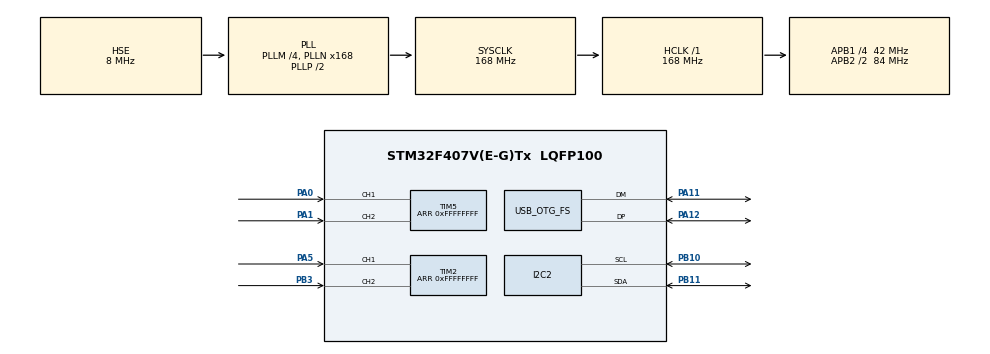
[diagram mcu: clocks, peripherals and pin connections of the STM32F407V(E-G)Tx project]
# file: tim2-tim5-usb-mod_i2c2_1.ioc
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I2C2.NoStretchMode=I2C_NOSTRETCH_ENABLE
I2C2.OwnAddress=0x4d
Mcu.Family=STM32F4
Mcu.Name=STM32F407V(E-G)Tx
Mcu.Package=LQFP100
NVIC.I2C2_ER_IRQn=true\:0\:0\:false\:false\:true\:true\:true
NVIC.I2C2_EV_IRQn=true\:0\:0\:false\:false\:true\:true\:true
NVIC.OTG_FS_IRQn=true\:0\:0\:false\:false\:true\:false\:true
NVIC.PriorityGroup=NVIC_PRIORITYGROUP_4
PA0-WKUP.GPIO_PuPd=GPIO_PULLUP
PA0-WKUP.GPIO_Speed=GPIO_SPEED_FREQ_VERY_HIGH
PA0-WKUP.Signal=S_TIM5_CH1
PA1.GPIO_PuPd=GPIO_PULLUP
PA1.GPIO_Speed=GPIO_SPEED_FREQ_VERY_HIGH
PA1.Signal=S_TIM5_CH2
PA11.Mode=Device_Only
PA11.Signal=USB_OTG_FS_DM
PA12.Mode=Device_Only
PA12.Signal=USB_OTG_FS_DP
PA5.GPIO_PuPd=GPIO_PULLUP
PA5.GPIO_Speed=GPIO_SPEED_FREQ_VERY_HIGH
PA5.Signal=S_TIM2_CH1_ETR
PB10.GPIO_Speed=GPIO_SPEED_FREQ_MEDIUM
PB10.Mode=I2C
PB10.Signal=I2C2_SCL
PB11.GPIO_Speed=GPIO_SPEED_FREQ_MEDIUM
PB11.Mode=I2C
PB11.Signal=I2C2_SDA
PB3.GPIO_PuPd=GPIO_PULLUP
PB3.GPIO_Speed=GPIO_SPEED_FREQ_VERY_HIGH
PB3.Signal=S_TIM2_CH2
PH0-OSC_IN.Mode=HSE-External-Oscillator
PH0-OSC_IN.Signal=RCC_OSC_IN
PH1-OSC_OUT.Mode=HSE-External-Oscillator
PH1-OSC_OUT.Signal=RCC_OSC_OUT
ProjectManager.HeapSize=0x200
ProjectManager.StackSize=0x400
ProjectManager.TargetToolchain=SW4STM32
RCC.48MHZClocksFreq_Value=48000000
RCC.AHBFreq_Value=168000000
RCC.APB1CLKDivider=RCC_HCLK_DIV4
RCC.APB1Freq_Value=42000000
RCC.APB1TimFreq_Value=84000000
RCC.APB2CLKDivider=RCC_HCLK_DIV2
RCC.APB2Freq_Value=84000000
RCC.APB2TimFreq_Value=168000000
RCC.CortexFreq_Value=168000000
RCC.HCLKFreq_Value=168000000
RCC.HSE_VALUE=8000000
RCC.HSI_VALUE=16000000
RCC.LSE_VALUE=32768
RCC.PLLM=4
RCC.PLLN=168
RCC.PLLQ=7
RCC.SYSCLKFreq_VALUE=168000000
RCC.SYSCLKSource=RCC_SYSCLKSOURCE_PLLCLK
RCC.VCOOutputFreq_Value=336000000
SH.S_TIM2_CH1_ETR.0=TIM2_CH1,Input_Capture1_from_TI1
SH.S_TIM2_CH2.0=TIM2_CH2,TriggerSource_TI2FP2
SH.S_TIM5_CH1.0=TIM5_CH1,TriggerSource_TI1FP1
SH.S_TIM5_CH2.0=TIM5_CH2,Input_Capture2_from_TI2
TIM2.AutoReloadPreload=TIM_AUTORELOAD_PRELOAD_ENABLE
TIM2.Channel-Input_Capture1_from_TI1=TIM_CHANNEL_1
TIM2.Period=0xFFFFFFFF
TIM5.AutoReloadPreload=TIM_AUTORELOAD_PRELOAD_ENABLE
TIM5.Channel-Input_Capture2_from_TI2=TIM_CHANNEL_2
TIM5.Period=0xFFFFFFFF
USB_DEVICE.CLASS_NAME_FS=CDC
USB_DEVICE.VirtualMode-CDC_FS=Cdc
USB_DEVICE.VirtualModeFS=Cdc_FS
USB_OTG_FS.VirtualMode=Device_Only
VP_TIM2_VS_ControllerModeClock.Mode=Clock Mode
VP_TIM5_VS_ControllerModeClock.Mode=Clock Mode
VP_USB_DEVICE_VS_USB_DEVICE_CDC_FS.Mode=CDC_FS
board=custom

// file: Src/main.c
/* USER CODE BEGIN Header */
/**
  ******************************************************************************
  * @file           : main.c
  * @brief          : Main program body
  ******************************************************************************
  * @attention
  *
  * <h2><center>&copy; Copyright (c) 2019 STMicroelectronics.
  * All rights reserved.</center></h2>
  *
  * This software component is licensed by ST under Ultimate Liberty license
  * SLA0044, the "License"; You may not use this file except in compliance with
  * the License. You may obtain a copy of the License at:
  *                             www.st.com/SLA0044
  *
  ******************************************************************************
  */
/* USER CODE END Header */

#include "main.h"
#include "usb_device.h"

/* USER CODE BEGIN Includes */
#include "usbd_cdc_if.h"
/* USER CODE END Includes */

/* USER CODE BEGIN PD */
#define I2C2_ADDRESS		0x13
/* USER CODE END PD */

I2C_HandleTypeDef hi2c2;

TIM_HandleTypeDef htim2;
TIM_HandleTypeDef htim5;

/* USER CODE BEGIN PV */
char RawFreq[80];
char TIM2CNTBUF[80];
/* USER CODE END PV */

void SystemClock_Config(void);
static void MX_GPIO_Init(void);
static void MX_TIM2_Init(void);
static void MX_TIM5_Init(void);
static void MX_I2C2_Init(void);

int main(void)
{

  /* MCU Configuration--------------------------------------------------------*/

  /* Reset of all peripherals, Initializes the Flash interface and the Systick. */
  HAL_Init();

  /* Configure the system clock */
  SystemClock_Config();

  /* Initialize all configured peripherals */
  MX_GPIO_Init();
  MX_TIM2_Init();
  MX_TIM5_Init();
  MX_USB_DEVICE_Init();
  MX_I2C2_Init();
  /* USER CODE BEGIN 2 */
  TIM2->CR1     |= TIM_CR1_CEN;//1: Counter enabled
  TIM2->EGR |= TIM_EGR_UG;

  TIM5->CR1     |= TIM_CR1_CEN;//1: Counter enabled
  TIM5->EGR |= TIM_EGR_UG;

  I2C2->CR2     |= I2C_CR2_FREQ_3; //0b01000: 8 MHz Peripheral Clock Frequency == 8 MHz!
  /*I2C2->CCR     |= 0x28;           // clock control register (270kHz)?!
  I2C2->TRISE   |= 0x09;          // rise time register*/
  I2C2->CR1 	|= I2C_CR1_PE;     //1:  Peripheral enable
  /* USER CODE END 2 */

  /* Infinite loop */
  /* USER CODE BEGIN WHILE */
  unsigned int freqTIM2Before=0;
  unsigned int freqTIM2After=0;
  unsigned int freqTIM2PerSecond=0;

  unsigned int freqTIM5Before=0;
  unsigned int freqTIM5After=0;
  unsigned int freqTIM5PerSecond=0;

  unsigned int GENcount=0;
  short x=0, x1=0, x2=0, x3=0, x4=0;
  unsigned int y=0, y1=0, y2=0, y3=0, y4=0 /*,y5=0*/;

  while (1)
  {
		freqTIM2After=TIM2->CNT;
		freqTIM2PerSecond=freqTIM2After-freqTIM2Before;
		freqTIM2PerSecond-=freqTIM2PerSecond*0.00095;
		freqTIM5After=TIM5->CNT;
	    freqTIM5PerSecond=freqTIM5After-freqTIM5Before;
	    freqTIM5PerSecond-=freqTIM5PerSecond*0.00095;

	    I2C2->CR1		|=I2C_CR1_ACK; //A
	    while (!(I2C2->SR1 & I2C_SR1_ADDR)){}; //ev1
	    I2C2->SR1;
	    I2C2->SR2;
	    while (!(I2C2->SR1 & I2C_SR1_TXE)){}; //ev3-1

	   	/*while((I2C2->SR1 & I2C_SR1_ADDR) == I2C_SR1_ADDR){
	      I2C2->SR1;
	      I2C2->SR2;
	    }*/
	    x=freqTIM2PerSecond;
	    x4 = x&0x000000FF;
	    x3 = (x&0x0000FF00) >> 8;
	    x2 = (x&0x00FF0000) >> 16;
	    x1 = (x&0xFF000000) >> 24;

	    y=freqTIM5PerSecond;
	   	y4 = y&0x000000FF;
	   	y3 = (y&0x0000FF00) >> 8;
	   	y2 = (y&0x00FF0000) >> 16;
	   	y1 = (y&0xFF000000) >> 24;
	 /*  y1 = x1<<24;
	   y2 = x2<<16;
	   y3 = x3<<8;
	   y4 =x4;
	   y5= y4+y3+y2+y1;*/

	   I2C2->DR = x1; //data1
	   while (!(I2C2->SR1 & I2C_SR1_TXE)){}; //ev3
	   I2C2->CR1		|=I2C_CR1_ACK;
	   I2C2->DR = x2; //data2
	   while (!(I2C2->SR1 & I2C_SR1_TXE)){};  //ev3
	   I2C2->CR1		|=I2C_CR1_ACK;
	   I2C2->DR = x3; //data3
	   while (!(I2C2->SR1 & I2C_SR1_TXE)){};  //ev3
	   I2C2->CR1		|=I2C_CR1_ACK;
	   I2C2->DR = x4; //data4
	   while (!(I2C2->SR1 & I2C_SR1_TXE)){};  //ev3
	   I2C2->CR1		|=I2C_CR1_ACK;
	   I2C2->DR = y1; //data5
	   while (!(I2C2->SR1 & I2C_SR1_TXE)){};  //ev3
	   I2C2->CR1		|=I2C_CR1_ACK;
	   I2C2->DR = y2; //data6
	   while (!(I2C2->SR1 & I2C_SR1_TXE)){};  //ev3
	   I2C2->CR1		|=I2C_CR1_ACK;
	   I2C2->DR = y3; //data7
	   while (!(I2C2->SR1 & I2C_SR1_TXE)){};  //ev3
	   I2C2->CR1		|=I2C_CR1_ACK;
	   I2C2->DR = y4; //data8
	   while (!(I2C2->SR1 & I2C_SR1_TXE)){};  //ev3

	    //while ((I2C1->SR1 & I2C_SR1_TXE) == I2C_SR1_TXE){

	    //}

	    //while ((I2C1->SR1 & I2C_SR1_TXE) == I2C_SR1_TXE){};

//	    sprintf(TIM2CNTBUF, "%u \t \%x \t %u  \t %u  \t %u  \t %u  \t %u  \t %u \r\n", GENcount, (unsigned int)I2C2->OAR1,(unsigned int)(y1), (unsigned int)(y2), (unsigned int)(y3), (unsigned int)(y4),  (unsigned int)(y5), (unsigned int)TIM2->CNT);
	   sprintf(TIM2CNTBUF, "%u \t %u \t %u \r\n", GENcount, freqTIM2PerSecond, freqTIM5PerSecond);
	   CDC_Transmit_FS((uint8_t *)TIM2CNTBUF, 80);
	    freqTIM2Before=freqTIM2After;
	    freqTIM5Before=freqTIM5After;

	    HAL_Delay(1000);
	    GENcount++;
    /* USER CODE END WHILE */

  }
}

void SystemClock_Config(void)
{
  RCC_OscInitTypeDef RCC_OscInitStruct = {0};
  RCC_ClkInitTypeDef RCC_ClkInitStruct = {0};

  /** Configure the main internal regulator output voltage
  */
  __HAL_RCC_PWR_CLK_ENABLE();
  __HAL_PWR_VOLTAGESCALING_CONFIG(PWR_REGULATOR_VOLTAGE_SCALE1);
  /** Initializes the CPU, AHB and APB busses clocks
  */
  RCC_OscInitStruct.OscillatorType = RCC_OSCILLATORTYPE_HSE;
  RCC_OscInitStruct.HSEState = RCC_HSE_ON;
  RCC_OscInitStruct.PLL.PLLState = RCC_PLL_ON;
  RCC_OscInitStruct.PLL.PLLSource = RCC_PLLSOURCE_HSE;
  RCC_OscInitStruct.PLL.PLLM = 4;
  RCC_OscInitStruct.PLL.PLLN = 168;
  RCC_OscInitStruct.PLL.PLLP = RCC_PLLP_DIV2;
  RCC_OscInitStruct.PLL.PLLQ = 7;
  if (HAL_RCC_OscConfig(&RCC_OscInitStruct) != HAL_OK)
  {
    Error_Handler();
  }
  /** Initializes the CPU, AHB and APB busses clocks
  */
  RCC_ClkInitStruct.ClockType = RCC_CLOCKTYPE_HCLK|RCC_CLOCKTYPE_SYSCLK
                              |RCC_CLOCKTYPE_PCLK1|RCC_CLOCKTYPE_PCLK2;
  RCC_ClkInitStruct.SYSCLKSource = RCC_SYSCLKSOURCE_PLLCLK;
  RCC_ClkInitStruct.AHBCLKDivider = RCC_SYSCLK_DIV1;
  RCC_ClkInitStruct.APB1CLKDivider = RCC_HCLK_DIV4;
  RCC_ClkInitStruct.APB2CLKDivider = RCC_HCLK_DIV2;

  if (HAL_RCC_ClockConfig(&RCC_ClkInitStruct, FLASH_LATENCY_5) != HAL_OK)
  {
    Error_Handler();
  }
}

static void MX_I2C2_Init(void)
{

  hi2c2.Instance = I2C2;
  hi2c2.Mode = HAL_I2C_MODE_SLAVE;
  hi2c2.Init.ClockSpeed = 100000;
  hi2c2.Init.DutyCycle = I2C_DUTYCYCLE_2;
  hi2c2.Init.OwnAddress1 = I2C2_ADDRESS;
  hi2c2.Init.AddressingMode = I2C_ADDRESSINGMODE_7BIT;
  hi2c2.Init.DualAddressMode = I2C_DUALADDRESS_DISABLE;
  hi2c2.Init.OwnAddress2 = 0;
  hi2c2.Init.GeneralCallMode = I2C_GENERALCALL_DISABLE;
  hi2c2.Init.NoStretchMode = I2C_NOSTRETCH_ENABLE;
  if (HAL_I2C_Init(&hi2c2) != HAL_OK)
  {
    Error_Handler();
  }

}

static void MX_TIM2_Init(void)
{

  TIM_SlaveConfigTypeDef sSlaveConfig = {0};
  TIM_MasterConfigTypeDef sMasterConfig = {0};
  TIM_IC_InitTypeDef sConfigIC = {0};

  htim2.Instance = TIM2;
  htim2.Init.Prescaler = 0;
  htim2.Init.CounterMode = TIM_COUNTERMODE_UP;
  htim2.Init.Period = 0xFFFFFFFF;
  htim2.Init.ClockDivision = TIM_CLOCKDIVISION_DIV1;
  htim2.Init.AutoReloadPreload = TIM_AUTORELOAD_PRELOAD_ENABLE;
  if (HAL_TIM_Base_Init(&htim2) != HAL_OK)
  {
    Error_Handler();
  }
  if (HAL_TIM_IC_Init(&htim2) != HAL_OK)
  {
    Error_Handler();
  }
  sSlaveConfig.SlaveMode = TIM_SLAVEMODE_EXTERNAL1;
  sSlaveConfig.InputTrigger = TIM_TS_TI2FP2;
  sSlaveConfig.TriggerPolarity = TIM_TRIGGERPOLARITY_RISING;
  sSlaveConfig.TriggerFilter = 0;
  if (HAL_TIM_SlaveConfigSynchro(&htim2, &sSlaveConfig) != HAL_OK)
  {
    Error_Handler();
  }
  sMasterConfig.MasterOutputTrigger = TIM_TRGO_RESET;
  sMasterConfig.MasterSlaveMode = TIM_MASTERSLAVEMODE_DISABLE;
  if (HAL_TIMEx_MasterConfigSynchronization(&htim2, &sMasterConfig) != HAL_OK)
  {
    Error_Handler();
  }
  sConfigIC.ICPolarity = TIM_INPUTCHANNELPOLARITY_RISING;
  sConfigIC.ICSelection = TIM_ICSELECTION_DIRECTTI;
  sConfigIC.ICPrescaler = TIM_ICPSC_DIV1;
  sConfigIC.ICFilter = 0;
  if (HAL_TIM_IC_ConfigChannel(&htim2, &sConfigIC, TIM_CHANNEL_1) != HAL_OK)
  {
    Error_Handler();
  }

}

static void MX_TIM5_Init(void)
{

  TIM_SlaveConfigTypeDef sSlaveConfig = {0};
  TIM_MasterConfigTypeDef sMasterConfig = {0};
  TIM_IC_InitTypeDef sConfigIC = {0};

  htim5.Instance = TIM5;
  htim5.Init.Prescaler = 0;
  htim5.Init.CounterMode = TIM_COUNTERMODE_UP;
  htim5.Init.Period = 0xFFFFFFFF;
  htim5.Init.ClockDivision = TIM_CLOCKDIVISION_DIV1;
  htim5.Init.AutoReloadPreload = TIM_AUTORELOAD_PRELOAD_ENABLE;
  if (HAL_TIM_Base_Init(&htim5) != HAL_OK)
  {
    Error_Handler();
  }
  if (HAL_TIM_IC_Init(&htim5) != HAL_OK)
  {
    Error_Handler();
  }
  sSlaveConfig.SlaveMode = TIM_SLAVEMODE_EXTERNAL1;
  sSlaveConfig.InputTrigger = TIM_TS_TI1FP1;
  sSlaveConfig.TriggerPolarity = TIM_TRIGGERPOLARITY_RISING;
  sSlaveConfig.TriggerFilter = 0;
  if (HAL_TIM_SlaveConfigSynchro(&htim5, &sSlaveConfig) != HAL_OK)
  {
    Error_Handler();
  }
  sMasterConfig.MasterOutputTrigger = TIM_TRGO_RESET;
  sMasterConfig.MasterSlaveMode = TIM_MASTERSLAVEMODE_DISABLE;
  if (HAL_TIMEx_MasterConfigSynchronization(&htim5, &sMasterConfig) != HAL_OK)
  {
    Error_Handler();
  }
  sConfigIC.ICPolarity = TIM_INPUTCHANNELPOLARITY_RISING;
  sConfigIC.ICSelection = TIM_ICSELECTION_DIRECTTI;
  sConfigIC.ICPrescaler = TIM_ICPSC_DIV1;
  sConfigIC.ICFilter = 0;
  if (HAL_TIM_IC_ConfigChannel(&htim5, &sConfigIC, TIM_CHANNEL_2) != HAL_OK)
  {
    Error_Handler();
  }

}

static void MX_GPIO_Init(void)
{

  /* GPIO Ports Clock Enable */
  __HAL_RCC_GPIOH_CLK_ENABLE();
  __HAL_RCC_GPIOA_CLK_ENABLE();
  __HAL_RCC_GPIOB_CLK_ENABLE();

}

void Error_Handler(void)
{
}

/************************ (C) COPYRIGHT STMicroelectronics *****END OF FILE****/
